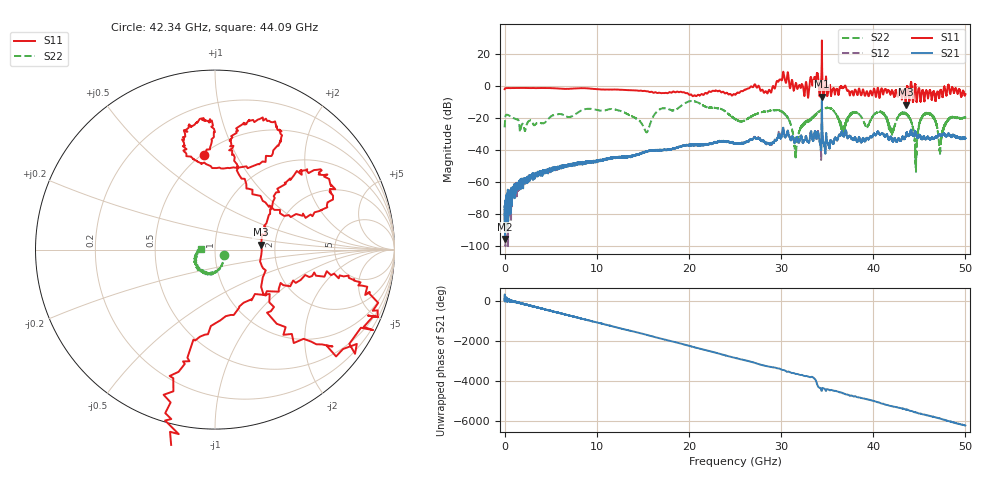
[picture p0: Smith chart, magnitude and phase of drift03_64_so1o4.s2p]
!Created with skrf (http://scikit-rf.org).
# Hz S RI R 50.0
!freq ReS11 ImS11 ReS21 ImS21 ReS12 ImS12 ReS22 ImS22
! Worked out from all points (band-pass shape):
!   10000 points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, 5.3 MHz to 50 GHz, reference 50 ohm
!   highest |S21| = -6.73 dB at 34.43 GHz (marker M1); lowest = -95.4 dB at 45.3 MHz (marker M2)
!   |S21| within 3 dB of the highest: 34.42737 GHz to 34.4344 GHz (7.036 MHz wide, 0.0204 % of centre)
!   lowest |S11| = -11.8 dB at 43.52 GHz (marker M3), VSWR 1.69, Z = 84.2 + j5.1 ohm
!   |S11| at or under -10 dB: 43.48655 GHz to 43.5519 GHz (65.35 MHz wide, 0.15 % of centre); 44.30437 GHz to 44.30581 GHz (1.436 MHz wide, 0.00324 % of centre); 44.70344 GHz to 44.71082 GHz (7.371 MHz wide, 0.0165 % of centre) (the widest 3 of 4)
!   |S22| runs from -53.6 to -9.4 dB; largest |S21 - S12| = 0.14
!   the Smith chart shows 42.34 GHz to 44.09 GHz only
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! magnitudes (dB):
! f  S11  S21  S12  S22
! 5.3 MHz  -2.1  -75.3  -90.1  -25.9
! 45.3 MHz  -1.6  -95.4  -74.1  -21.0
! 1.92 GHz  -1.3  -58.8  -60.4  -23.8
! 8.34 GHz  -1.5  -47.9  -48.3  -15.3
! 12.47 GHz  -2.4  -44.4  -44.6  -15.5
! 15.4 GHz  -3.5  -40.9  -41.1  -28.9
! 16.67 GHz  -4.4  -39.9  -39.9  -15.3
! 20.45 GHz  -6.5  -37.0  -36.9  -9.5
! 25.01 GHz  -5.5  -35.8  -36.0  -20.7
! 29.93 GHz  4.0  -32.5  -31.8  -15.5
! 31.59 GHz  1.4  -33.7  -34.0  -43.5
! 33.34 GHz  2.7  -30.4  -30.4  -20.3
! 34.43 GHz  28.2  -6.7  -8.8  -14.5
! 36.7 GHz  -1.4  -30.0  -30.0  -28.6
! 37.95 GHz  -3.9  -32.8  -32.7  -16.4
! 41.67 GHz  -2.8  -33.3  -33.4  -23.8
! 43.52 GHz  -11.8  -31.6  -31.4  -17.5
! 44.62 GHz  -2.6  -29.2  -29.5  -51.0
! 45.63 GHz  -5.6  -32.8  -32.8  -17.9
! 47.27 GHz  -3.3  -30.8  -31.0  -39.8
! 48.27 GHz  -2.5  -30.6  -30.4  -19.9
! 50 GHz  -5.2  -32.6  -32.6  -19.7
